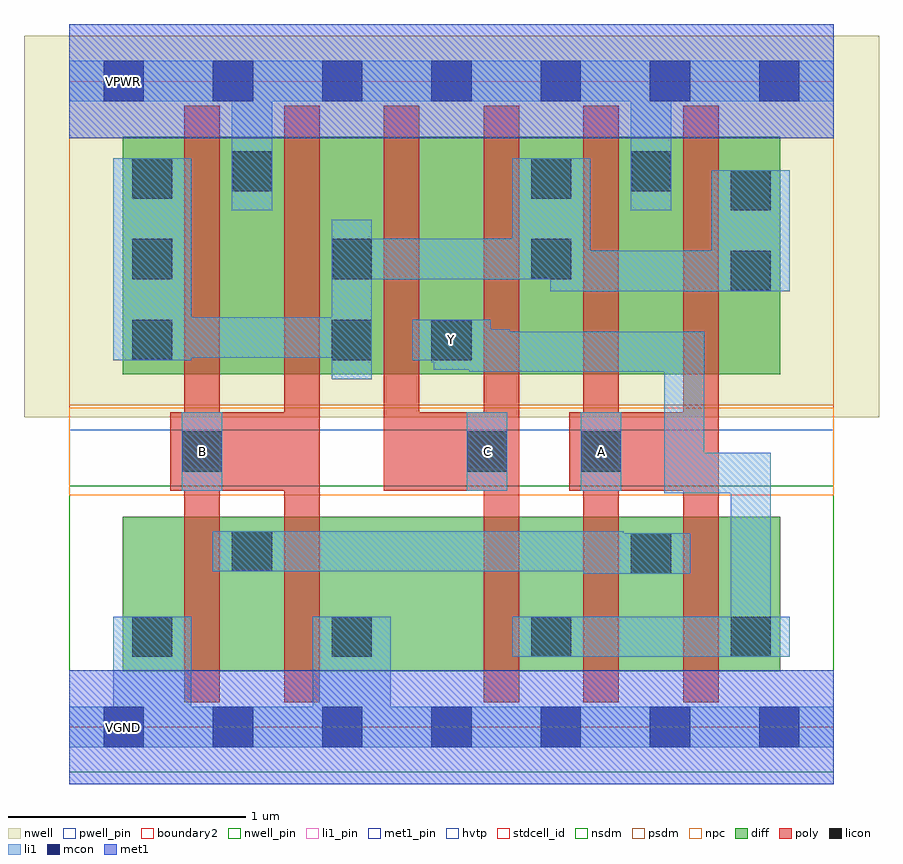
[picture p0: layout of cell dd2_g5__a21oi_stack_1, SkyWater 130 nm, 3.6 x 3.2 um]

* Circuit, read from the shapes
.subckt dd2_g5__a21oi_stack_1 A B C VGND VNB VPB VPWR Y
XM1 n1 B VGND VNB sky130_fd_pr__nfet_01v8 w=0.65 l=0.15 m=2
XM2 Y C VGND VNB sky130_fd_pr__nfet_01v8 w=0.65 l=0.15
XM3 n1 A Y VNB sky130_fd_pr__nfet_01v8 w=0.65 l=0.15 m=2
XM4 VPWR B n2 VPB sky130_fd_pr__pfet_01v8_hvt w=1 l=0.15 m=2
XM5 Y C n2 VPB sky130_fd_pr__pfet_01v8_hvt w=1 l=0.15 m=2
XM6 VPWR A n2 VPB sky130_fd_pr__pfet_01v8_hvt w=1 l=0.15 m=2
.ends

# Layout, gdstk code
import gdstk
lib = gdstk.Library(unit=1e-6, precision=1e-09)
def R(c, l, rs):  # rectangles x0, y0, x1, y1
    for r in rs: c.add(gdstk.rectangle(r[:2], r[2:], *l))
def A(c, l, x, y, w, h, nx, ny, dx, dy):  # array of equal rectangles
    R(c, l, [(x+i*dx, y+j*dy, x+i*dx+w, y+j*dy+h) for i in range(nx) for j in range(ny)])
nwell_pin = (64, 16)
nwell = (64, 20)
diff = (65, 20)
poly = (66, 20)
licon = (66, 44)
li1_pin = (67, 16)
li1 = (67, 20)
mcon = (67, 44)
met1_pin = (68, 16)
met1 = (68, 20)
hvtp = (78, 44)
stdcell_id = (81, 4)
nsdm = (93, 44)
psdm = (94, 20)
npc = (95, 20)
pwell_pin = (122, 16)
boundary2 = (236, 0)

dd2_g5__a21oi_stack_1 = lib.new_cell('dd2_g5__a21oi_stack_1')
R(dd2_g5__a21oi_stack_1, nwell_pin, [(0.145,2.635,0.315,2.805)])
R(dd2_g5__a21oi_stack_1, nwell, [(-0.19,1.305,3.41,2.91)])
A(dd2_g5__a21oi_stack_1, diff, 0.56, 0.235, 0.84, 0.65, 4, 1, 0.42, 0)
A(dd2_g5__a21oi_stack_1, diff, 0.56, 1.485, 0.84, 1, 4, 1, 0.42, 0)
R(dd2_g5__a21oi_stack_1, diff, [(0.225,0.235,0.98,0.885), (2.24,0.235,2.995,0.885), (0.225,1.485,0.98,2.485), (2.24,1.485,2.995,2.485)])
A(dd2_g5__a21oi_stack_1, poly, 1.745, 0.105, 0.15, 2.51, 3, 1, 0.42, 0)
A(dd2_g5__a21oi_stack_1, poly, 0.485, 0.995, 0.57, 0.33, 3, 1, 0.84, 0)
R(dd2_g5__a21oi_stack_1, poly, [(0.485,0.105,0.635,2.615), (0.905,0.105,1.055,2.615), (0.425,0.995,0.695,1.325), (1.325,0.995,1.475,2.615), (1.625,0.995,1.895,1.325), (2.105,0.995,2.375,1.325)])
A(dd2_g5__a21oi_stack_1, licon, 0.265, 0.295, 0.17, 0.17, 4, 1, 0.84, 0)
A(dd2_g5__a21oi_stack_1, licon, 0.265, 1.885, 0.17, 0.17, 3, 1, 0.84, 0)
R(dd2_g5__a21oi_stack_1, licon, [(2.365,0.645,2.535,0.815), (0.685,0.655,0.855,0.825), (0.475,1.075,0.645,1.245), (1.675,1.075,1.845,1.245), (2.155,1.075,2.325,1.245), (0.265,1.545,0.435,1.715), (1.105,1.545,1.275,1.715), (1.525,1.545,1.695,1.715), (2.785,1.835,2.955,2.005), (2.785,2.175,2.955,2.345), (0.265,2.225,0.435,2.395), (1.945,2.225,2.115,2.395), (0.685,2.255,0.855,2.425), (2.365,2.255,2.535,2.425)])
R(dd2_g5__a21oi_stack_1, li1_pin, [(0.145,-0.085,0.315,0.085), (0.485,1.085,0.635,1.235), (1.685,1.085,1.835,1.235), (2.165,1.085,2.315,1.235), (1.535,1.555,1.685,1.705), (0.145,2.635,0.315,2.805)])
R(dd2_g5__a21oi_stack_1, li1, [(0,-0.085,3.22,0.085), (0.185,0.085,0.515,0.465), (1.025,0.085,1.355,0.465), (1.865,0.295,3.035,0.465), (2.785,0.465,2.955,0.985), (2.165,0.645,2.615,0.655), (0.605,0.655,2.615,0.815), (0.605,0.815,2.335,0.825), (2.505,0.985,2.955,1.155), (0.475,0.995,0.645,1.325), (1.675,0.995,1.845,1.325), (2.155,0.995,2.325,1.325), (2.505,1.155,2.675,1.495), (1.105,1.465,1.275,1.555), (1.685,1.495,2.675,1.505), (1.535,1.505,2.675,1.535), (1.525,1.535,2.675,1.545), (0.185,1.545,0.515,1.555), (1.445,1.545,2.675,1.665), (0.185,1.555,1.275,1.725), (1.445,1.665,1.855,1.675), (1.445,1.675,1.775,1.715), (0.185,1.725,0.515,2.395), (1.105,1.725,1.275,1.885), (2.025,1.835,3.035,1.885), (1.105,1.885,3.035,2.005), (1.105,2.005,2.195,2.055), (2.705,2.005,3.035,2.345), (1.105,2.055,1.275,2.135), (1.865,2.055,2.195,2.395), (0.685,2.175,0.855,2.635), (2.365,2.175,2.535,2.635), (0,2.635,3.22,2.805)])
A(dd2_g5__a21oi_stack_1, mcon, 0.145, -0.085, 0.17, 0.17, 7, 2, 0.46, 2.72)
R(dd2_g5__a21oi_stack_1, met1_pin, [(0.145,-0.085,0.315,0.085), (0.145,2.635,0.315,2.805)])
R(dd2_g5__a21oi_stack_1, met1, [(0,-0.24,3.22,0.24), (0,2.48,3.22,2.96)])
R(dd2_g5__a21oi_stack_1, hvtp, [(0,1.25,3.22,2.72)])
R(dd2_g5__a21oi_stack_1, stdcell_id, [(0,0,3.22,2.72)])
R(dd2_g5__a21oi_stack_1, nsdm, [(0,-0.19,3.22,1.015)])
R(dd2_g5__a21oi_stack_1, psdm, [(0,1.355,3.22,2.91)])
R(dd2_g5__a21oi_stack_1, npc, [(0,0.975,3.22,1.345)])
R(dd2_g5__a21oi_stack_1, pwell_pin, [(0.145,-0.085,0.315,0.085)])
R(dd2_g5__a21oi_stack_1, boundary2, [(0,0,3.22,2.72)])
dd2_g5__a21oi_stack_1.add(gdstk.Label('VPWR', (0.23,2.72), layer=68, texttype=5))
dd2_g5__a21oi_stack_1.add(gdstk.Label('VGND', (0.23,0), layer=68, texttype=5))
dd2_g5__a21oi_stack_1.add(gdstk.Label('VPWR', (0.23,2.72), layer=67, texttype=5))
dd2_g5__a21oi_stack_1.add(gdstk.Label('VGND', (0.23,0), layer=67, texttype=5))
dd2_g5__a21oi_stack_1.add(gdstk.Label('A', (2.24,1.16), layer=67, texttype=5))
dd2_g5__a21oi_stack_1.add(gdstk.Label('B', (0.56,1.16), layer=67, texttype=5))
dd2_g5__a21oi_stack_1.add(gdstk.Label('C', (1.76,1.16), layer=67, texttype=5))
dd2_g5__a21oi_stack_1.add(gdstk.Label('Y', (1.61,1.63), layer=67, texttype=5))
dd2_g5__a21oi_stack_1.add(gdstk.Label('VPB', (0.23,2.72), layer=64, texttype=5))
dd2_g5__a21oi_stack_1.add(gdstk.Label('VNB', (0.23,0), layer=64, texttype=59))

lib.write_gds('dd2_g5__a21oi_stack_1.gds')
